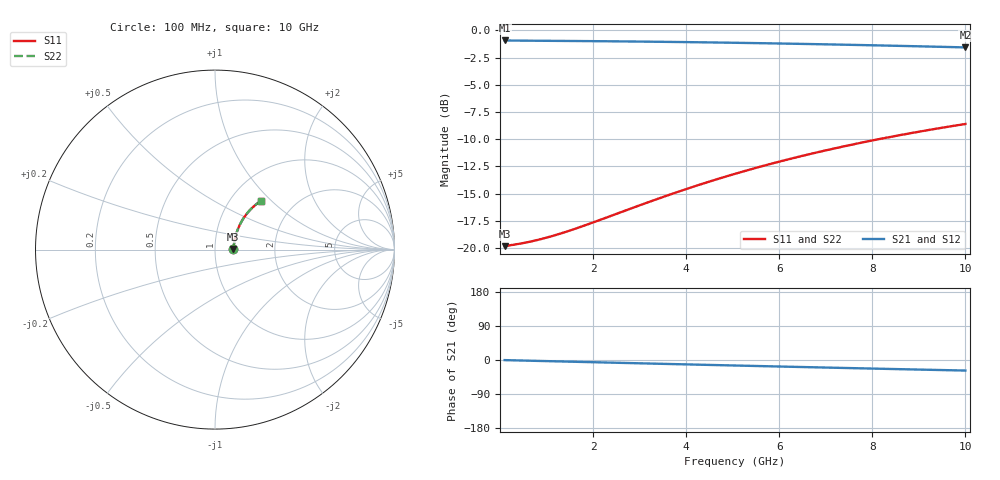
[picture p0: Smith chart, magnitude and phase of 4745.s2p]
# Hz S RI R 50.00
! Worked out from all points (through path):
!   100 points, 100 MHz to 10 GHz, reference 50 ohm
!   highest |S21| = -0.93 dB at 100 MHz (marker M1); lowest = -1.6 dB at 10 GHz (marker M2)
!   group delay of S21, straight-line fit = 7.75 ps
!   lowest |S11| = -19.8 dB at 100 MHz (marker M3), VSWR 1.23, Z = 61.4 + j0.422 ohm
!   |S11| at or under -10 dB: start of sweep to 8.141 GHz
!   |S22| runs from -19.8 to -8.6 dB; largest |S21 - S12| = 0
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1e8  0.102 0.0034  0.898 -0.00459  0.898 -0.00459  0.102 0.0034
5e8  0.1041 0.0169  0.8959 -0.0229  0.8959 -0.0229  0.1041 0.0169
7e8  0.105 0.0237  0.895 -0.032  0.895 -0.032  0.105 0.0237
9e8  0.1059 0.0304  0.894 -0.041  0.894 -0.041  0.1059 0.0304
1.1e9  0.1069 0.037  0.893 -0.0501  0.893 -0.0501  0.1069 0.037
1.3e9  0.1081 0.0437  0.8918 -0.0591  0.8918 -0.0591  0.1081 0.0437
1.8e9  0.1113 0.0602  0.8884 -0.0815  0.8884 -0.0815  0.1113 0.0602
2.6e9  0.118 0.0861  0.8814 -0.117  0.8814 -0.117  0.118 0.0861
3.4e9  0.1266 0.1113  0.8725 -0.1516  0.8725 -0.1516  0.1266 0.1113
3.9e9  0.1329 0.1265  0.866 -0.1728  0.866 -0.1728  0.1329 0.1265
4.3e9  0.1384 0.1384  0.8602 -0.1895  0.8602 -0.1895  0.1384 0.1384
4.7e9  0.1444 0.15  0.854 -0.2058  0.854 -0.2058  0.1444 0.15
5.1e9  0.1507 0.1613  0.8473 -0.2219  0.8473 -0.2219  0.1507 0.1613
5.5e9  0.1575 0.1723  0.8402 -0.2377  0.8402 -0.2377  0.1575 0.1723
5.9e9  0.1646 0.183  0.8328 -0.2531  0.8328 -0.2531  0.1646 0.183
6.3e9  0.1721 0.1933  0.8249 -0.2682  0.8249 -0.2682  0.1721 0.1933
6.7e9  0.1799 0.2032  0.8167 -0.2829  0.8167 -0.2829  0.1799 0.2032
7.5e9  0.1965 0.222  0.7992 -0.3113  0.7992 -0.3113  0.1965 0.222
7.9e9  0.2053 0.2308  0.79 -0.3249  0.79 -0.3249  0.2053 0.2308
8.4e9  0.2165 0.2412  0.7782 -0.3413  0.7782 -0.3413  0.2165 0.2412
9.2e9  0.2352 0.2565  0.7584 -0.3663  0.7584 -0.3663  0.2352 0.2565
1e10  0.2546 0.2702  0.7378 -0.3897  0.7378 -0.3897  0.2546 0.2702
